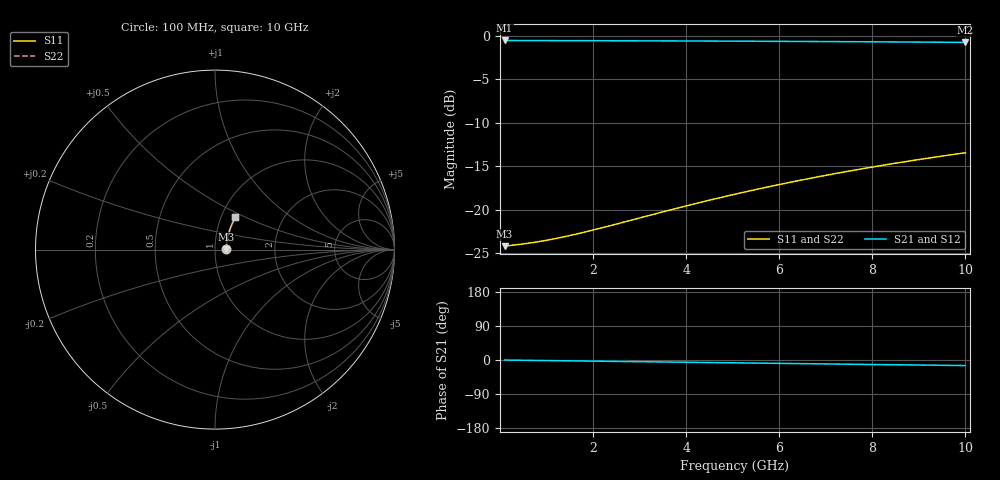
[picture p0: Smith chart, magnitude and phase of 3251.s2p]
# Hz S RI R 50.00
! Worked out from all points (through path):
!   100 points, 100 MHz to 10 GHz, reference 50 ohm
!   highest |S21| = -0.55 dB at 100 MHz (marker M1); lowest = -0.8 dB at 10 GHz (marker M2)
!   group delay of S21, straight-line fit = 4.09 ps
!   lowest |S11| = -24.2 dB at 100 MHz (marker M3), VSWR 1.13, Z = 56.6 + j0.218 ohm
!   |S11| at or under -10 dB: start of sweep to end of sweep
!   |S22| runs from -24.2 to -13.5 dB; largest |S21 - S12| = 0
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1e8  0.0616 0.00192  0.9384 -0.00245  0.9384 -0.00245  0.0616 0.00192
6e8  0.063 0.0115  0.937 -0.0147  0.937 -0.0147  0.063 0.0115
9e8  0.0636 0.0172  0.9364 -0.022  0.9364 -0.022  0.0636 0.0172
1.1e9  0.064 0.021  0.9359 -0.0268  0.9359 -0.0268  0.064 0.021
1.3e9  0.0645 0.0248  0.9355 -0.0317  0.9355 -0.0317  0.0645 0.0248
1.5e9  0.0649 0.0286  0.935 -0.0365  0.935 -0.0365  0.0649 0.0286
1.8e9  0.0656 0.0343  0.9343 -0.0438  0.9343 -0.0438  0.0656 0.0343
2.3e9  0.0669 0.0438  0.933 -0.0559  0.933 -0.0559  0.0669 0.0438
3.4e9  0.0705 0.0644  0.9293 -0.0823  0.9293 -0.0823  0.0705 0.0644
3.9e9  0.0725 0.0737  0.9273 -0.0942  0.9273 -0.0942  0.0725 0.0737
4.3e9  0.0742 0.0811  0.9255 -0.1037  0.9255 -0.1037  0.0742 0.0811
4.7e9  0.0761 0.0884  0.9236 -0.1132  0.9236 -0.1132  0.0761 0.0884
5.1e9  0.0781 0.0957  0.9215 -0.1225  0.9215 -0.1225  0.0781 0.0957
5.5e9  0.0803 0.1029  0.9193 -0.1319  0.9193 -0.1319  0.0803 0.1029
5.9e9  0.0826 0.11  0.9169 -0.1411  0.9169 -0.1411  0.0826 0.11
6.3e9  0.085 0.1171  0.9144 -0.1504  0.9144 -0.1504  0.085 0.1171
6.7e9  0.0876 0.1242  0.9118 -0.1595  0.9118 -0.1595  0.0876 0.1242
7.5e9  0.0931 0.138  0.9061 -0.1776  0.9061 -0.1776  0.0931 0.138
7.9e9  0.0961 0.1449  0.903 -0.1865  0.903 -0.1865  0.0961 0.1449
8.4e9  0.0999 0.1533  0.899 -0.1976  0.899 -0.1976  0.0999 0.1533
9.2e9  0.1066 0.1665  0.8922 -0.215  0.8922 -0.215  0.1066 0.1665
1e10  0.1137 0.1793  0.8848 -0.2321  0.8848 -0.2321  0.1137 0.1793
